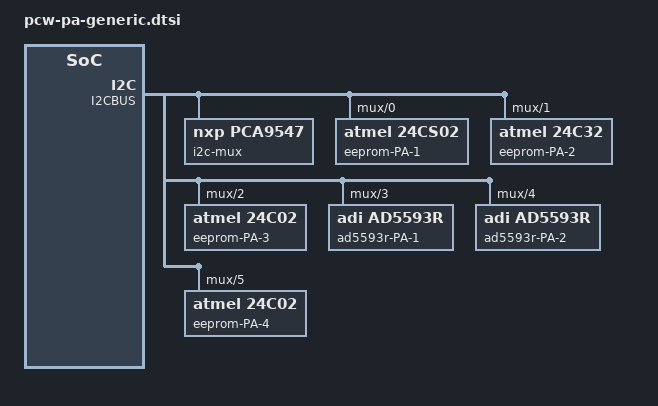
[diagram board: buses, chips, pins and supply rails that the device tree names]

#ifndef PA
#error "Error: PA undefined!"
#endif

#ifndef MUXBASE
#error "Error: MUXBASE undefined!"
#endif

#ifndef MUXDEV
#error "Error: MUXDEV undefined!"
#endif

#ifndef I2C_MUX_BASE
#error "Error: I2C_MUX_BASE undefined!"
#endif

#ifndef I2C_MUX_DEVICE
#error "Error: I2C_MUX_DEVICE undefined!"
#endif

&I2CBUS {
	i2c-mux@MUXBASE {
		reg = <I2C_MUX_BASE>;
		compatible = "nxp,pca9547";
		#address-cells = <1>;
		#size-cells = <0>;

		// Multiplexer port #0: Secure EEPROM
		i2c@0 {
			reg = <0>;
			#address-cells = <1>;
			#size-cells = <0>;

			eeprom-PA-1@MUXDEV {
				compatible = "atmel,24cs02";
				reg = <I2C_MUX_DEVICE>;
			};
		};

		// Multiplexer port #1: Emulated 32kBit EEPROM (Flash based)
		i2c@1 {
			reg = <1>;
			#address-cells = <1>;
			#size-cells = <0>;

			eeprom-PA-2@MUXDEV {
				compatible = "atmel,24c32";
				reg = <I2C_MUX_DEVICE>;
			};
		};

		// Multiplexer port #2: Debug device
		i2c@2 {
			reg = <2>;
			#address-cells = <1>;
			#size-cells = <0>;

			eeprom-PA-3@MUXDEV {
				compatible = "atmel,24c02";
				reg = <I2C_MUX_DEVICE>;
			};
		};

		// Multiplexer port #3: AD5593r #1
		i2c@3 {
			reg = <3>;
			#address-cells = <1>;
			#size-cells = <0>;

			ad5593r-PA-1@MUXDEV {
				#size-cells = <0>;
				#address-cells = <1>;
				#gpio-cells = <2>;
				compatible = "adi,ad5593r";
				reg = <I2C_MUX_DEVICE>;
				gpio-controller;

				/*
				 * CH_MODE_UNUSED             0
				 * CH_MODE_ADC                1
				 * CH_MODE_DAC                2
				 * CH_MODE_DAC_AND_ADC        3
				 * CH_MODE_GPIO               8
				 *
				 * CH_OFFSTATE_PULLDOWN       0
				 * CH_OFFSTATE_OUT_LOW        1
				 * CH_OFFSTATE_OUT_HIGH       2
				 * CH_OFFSTATE_OUT_TRISTATE   3
				 */
				channel@0 {
				  reg = <0>;
				  adi,mode = <8>;
				  adi,off-state = <0>;
				  label = "GPO_EN_BIAS";
				};
				channel@1 {
				  reg = <1>;
				  adi,mode = <8>;
				  adi,off-state = <0>;
				  label = "GPO_EN_Drain";
				};
				channel@2 {
				  reg = <2>;
				  adi,mode = <1>;
				  adi,off-state = <0>;
				  label = "VTemp";
				};
				channel@3 {
				  reg = <3>;
				  adi,mode = <1>;
				  adi,off-state = <0>;
				  label = "IDrain";
				};
				channel@4 {
				  reg = <4>;
				  adi,mode = <1>;
				  adi,off-state = <0>;
				  label = "Vdrain";
				};
				channel@5 {
				  reg = <5>;
				  adi,mode = <2>;
				  adi,off-state = <0>;
				  label = "PWM_Gate";
				};
				channel@6 {
				  reg = <6>;
				  adi,mode = <1>;
				  adi,off-state = <0>;
				  label = "Ibias";
				};
			};
		};

		// Multiplexer port #4: AD5593r #2
		i2c@4 {
			reg = <4>;
			#address-cells = <1>;
			#size-cells = <0>;

			ad5593r-PA-2@MUXDEV {
				#size-cells = <0>;
				#address-cells = <1>;
				#gpio-cells = <2>;
				compatible = "adi,ad5593r";
				reg = <I2C_MUX_DEVICE>;
				gpio-controller;

				/*
				 * CH_MODE_UNUSED             0
				 * CH_MODE_ADC                1
				 * CH_MODE_DAC                2
				 * CH_MODE_DAC_AND_ADC        3
				 * CH_MODE_GPIO               8
				 *
				 * CH_OFFSTATE_PULLDOWN       0
				 * CH_OFFSTATE_OUT_LOW        1
				 * CH_OFFSTATE_OUT_HIGH       2
				 * CH_OFFSTATE_OUT_TRISTATE   3
				 */
				channel@0 {
				  reg = <0>;
				  adi,mode = <8>;
				  adi,off-state = <0>;
				  label = "GPO_SEL0_FWD_nREF";
				};
				channel@1 {
				  reg = <1>;
				  adi,mode = <1>;
				  adi,off-state = <0>;
				  label = "P_FWD";
				};
				channel@2 {
				  reg = <2>;
				  adi,mode = <1>;
				  adi,off-state = <0>;
				  label = "P_REV";
				};
				channel@3 {
				  reg = <3>;
				  adi,mode = <1>;
				  adi,off-state = <0>;
				  label = "P_VSWR";
				};
				channel@4 {
				  reg = <4>;
				  adi,mode = <8>;
				  adi,off-state = <0>;
				  label = "GPO_SEL1_FWD_nREF";
				};
			};
		};

		// Multiplexer port #5: Emulated 2kBit EEPROM (Flash based) > PA Version
		i2c@5 {
			reg = <5>;
			#address-cells = <1>;
			#size-cells = <0>;

			eeprom-PA-4@MUXDEV {
				compatible = "atmel,24c02";
				reg = <I2C_MUX_DEVICE>;
			};
		};
	};
};

#undef PA
#undef MUXBASE
#undef MUXDEV
#undef I2C_MUX_BASE
#undef I2C_MUX_DEVICE
